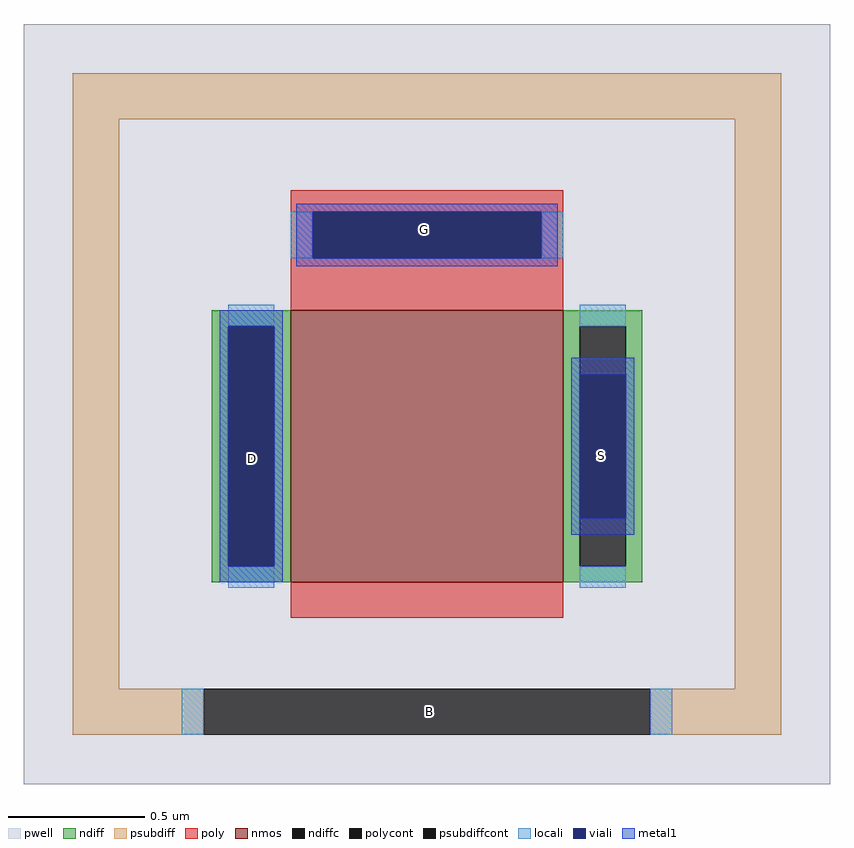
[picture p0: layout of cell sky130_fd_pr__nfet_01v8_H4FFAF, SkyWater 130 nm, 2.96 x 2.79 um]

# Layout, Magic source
magic
tech sky130B
magscale 1 2
<< pwell >>
rect -296 -279 296 279
<< nmos >>
rect -100 -131 100 69
<< ndiff >>
rect -158 57 -100 69
rect -158 -119 -146 57
rect -112 -119 -100 57
rect -158 -131 -100 -119
rect 100 57 158 69
rect 100 -119 112 57
rect 146 -119 158 57
rect 100 -131 158 -119
<< ndiffc >>
rect -146 -119 -112 57
rect 112 -119 146 57
<< psubdiff >>
rect -260 209 260 243
rect -260 -209 -226 209
rect 226 -209 260 209
rect -260 -243 -164 -209
rect 164 -243 260 -209
<< psubdiffcont >>
rect -164 -243 164 -209
<< poly >>
rect -100 141 100 157
rect -100 107 -84 141
rect 84 107 100 141
rect -100 69 100 107
rect -100 -157 100 -131
<< polycont >>
rect -84 107 84 141
<< locali >>
rect -100 107 -84 141
rect 84 107 100 141
rect -146 57 -112 73
rect -146 -135 -112 -119
rect 112 57 146 73
rect 112 -135 146 -119
rect -180 -243 -164 -209
rect 164 -243 180 -209
<< viali >>
rect -84 107 84 141
rect -146 -119 -112 57
rect 112 -84 146 22
<< metal1 >>
rect -96 141 96 147
rect -96 107 -84 141
rect 84 107 96 141
rect -96 101 96 107
rect -152 57 -106 69
rect -152 -119 -146 57
rect -112 -119 -106 57
rect 106 22 152 34
rect 106 -84 112 22
rect 146 -84 152 22
rect 106 -96 152 -84
rect -152 -131 -106 -119
<< labels >>
flabel metal1 s -2 128 -2 128 0 FreeSans 320 0 0 0 G
port 0 nsew
flabel metal1 s -128 -40 -128 -40 0 FreeSans 320 0 0 0 D
port 1 nsew
flabel metal1 s 128 -38 128 -38 0 FreeSans 320 0 0 0 S
port 2 nsew
flabel locali s 2 -226 2 -226 0 FreeSans 320 0 0 0 B
port 4 nsew
<< properties >>
string FIXED_BBOX -243 -226 243 226
string gencell sky130_fd_pr__nfet_01v8
string library sky130
string parameters w 1 l 1 m 1 nf 1 diffcov 100 polycov 100 guard 1 glc 0 grc 0 gtc 0 gbc 1 tbcov 100 rlcov 100 topc 1 botc 0 poverlap 0 doverlap 1 lmin 0.15 wmin 0.42 compatible {sky130_fd_pr__nfet_01v8 sky130_fd_pr__nfet_01v8_lvt  sky130_fd_bs_flash__special_sonosfet_star  sky130_fd_pr__nfet_g5v0d10v5 sky130_fd_pr__nfet_05v0_nvt  sky130_fd_pr__nfet_03v3_nvt} full_metal 0 viasrc 60 viadrn 100 viagate 100 viagb 0 viagr 0 viagl 0 viagt 0
<< end >>
